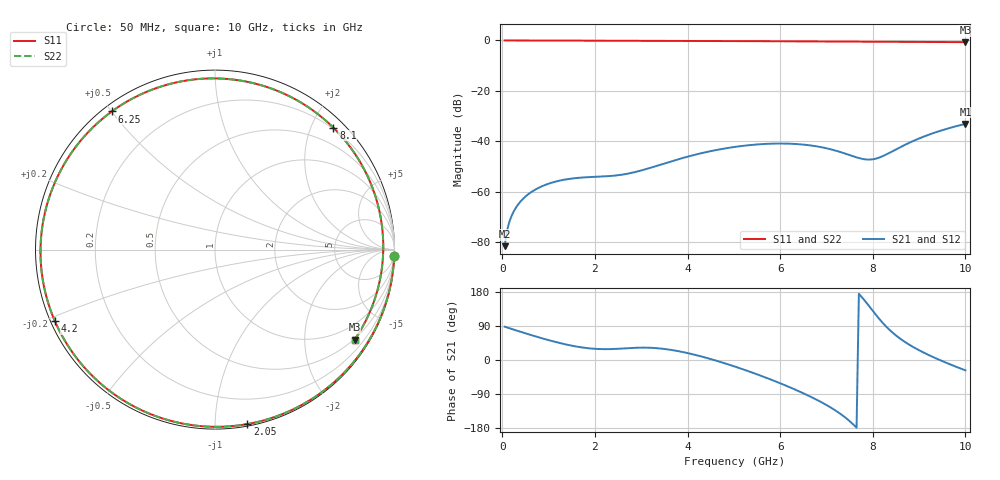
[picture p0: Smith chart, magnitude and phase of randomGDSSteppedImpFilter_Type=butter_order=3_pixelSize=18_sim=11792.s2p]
! freq	dB(S11)	phase(S11)	dB(S12)	phase(S12)
!  dB(S21)	phase(S21)	dB(S22)	phase(S22)
!S-par simulation data
#  GHz  S  DB  R 50
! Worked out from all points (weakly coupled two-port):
!   200 points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, 50 MHz to 10 GHz, reference 50 ohm
!   highest |S21| = -33.05 dB at 10 GHz (marker M1); lowest = -81.5 dB at 50 MHz (marker M2)
!   lowest |S11| = -0.7 dB at 10 GHz (marker M3), VSWR 25.82, Z = 23.8 - j166 ohm
!   |S11| at or under -10 dB: nowhere
!   |S22| runs from -0.7 to 0.0 dB; largest |S21 - S12| = 0
!   S11 on the Smith chart (normalised r, x): 50 MHz: 1, -56; 2.05 GHz: 0.01, -1.20; 4.2 GHz: 0.01, -0.21; 6.25 GHz: 0.03, +0.50; 8.1 GHz: 0.18, +2.35; 10 GHz: 0.48, -3.33
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0.05  -0.01 -2.0  -81.50 87.9  -81.50 87.9  -0.01 -2.0
0.15  -0.01 -6.0  -72.00 83.9  -72.00 83.9  -0.01 -6.0
0.25  -0.01 -10.0  -67.63 80.0  -67.63 80.0  -0.01 -10.0
0.55  -0.02 -22.0  -61.09 68.5  -61.09 68.5  -0.02 -22.0
1.05  -0.05 -41.6  -56.45 50.8  -56.45 50.8  -0.05 -41.6
1.75  -0.08 -68.3  -54.28 32.7  -54.28 32.7  -0.08 -68.3
2.05  -0.10 -79.5  -53.99 29.1  -53.99 29.1  -0.10 -79.4
2.7  -0.13 -103.0  -52.82 31.1  -52.82 31.1  -0.13 -103.0
3.4  -0.16 -127.8  -49.31 30.5  -49.31 30.5  -0.16 -127.8
4.2  -0.20 -155.9  -45.10 12.4  -45.10 12.4  -0.20 -155.9
5.05  -0.26 173.4  -42.10 -18.4  -42.10 -18.4  -0.26 173.4
5.65  -0.30 150.7  -41.02 -44.6  -41.02 -44.6  -0.30 150.7
6.25  -0.35 126.7  -40.94 -74.1  -40.94 -74.1  -0.35 126.7
6.7  -0.38 107.9  -41.70 -99.4  -41.70 -99.4  -0.38 107.9
7.4  -0.43 77.2  -44.80 -151.2  -44.80 -151.2  -0.43 77.2
7.8  -0.46 59.3  -47.01 160.7  -47.01 160.7  -0.46 59.3
8.1  -0.47 45.9  -46.65 114.3  -46.65 114.3  -0.47 45.9
8.35  -0.49 34.7  -44.64 80.8  -44.64 80.8  -0.49 34.7
8.75  -0.52 17.3  -40.87 43.3  -40.87 43.3  -0.52 17.3
9.15  -0.56 0.4  -37.75 16.5  -37.75 16.5  -0.56 0.4
9.55  -0.61 -15.7  -35.28 -5.5  -35.28 -5.5  -0.61 -15.7
10  -0.67 -32.9  -33.05 -27.3  -33.05 -27.3  -0.67 -32.9
